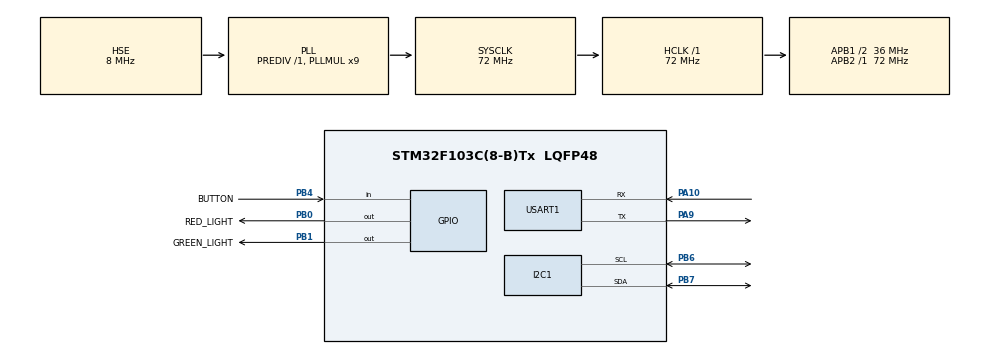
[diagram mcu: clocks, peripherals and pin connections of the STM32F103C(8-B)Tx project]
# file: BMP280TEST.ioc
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Mcu.Family=STM32F1
Mcu.Name=STM32F103C(8-B)Tx
Mcu.Package=LQFP48
NVIC.PriorityGroup=NVIC_PRIORITYGROUP_4
PA10.Mode=Asynchronous
PA10.Signal=USART1_RX
PA9.Mode=Asynchronous
PA9.Signal=USART1_TX
PB0.GPIO_Label=RED_LIGHT
PB0.Signal=GPIO_Output
PB1.GPIO_Label=GREEN_LIGHT
PB1.Signal=GPIO_Output
PB4.GPIO_Label=BUTTON
PB4.GPIO_PuPd=GPIO_PULLDOWN
PB4.Signal=GPIO_Input
PB6.Mode=I2C
PB6.Signal=I2C1_SCL
PB7.Mode=I2C
PB7.Signal=I2C1_SDA
PD0-OSC_IN.Mode=HSE-External-Oscillator
PD0-OSC_IN.Signal=RCC_OSC_IN
PD1-OSC_OUT.Mode=HSE-External-Oscillator
PD1-OSC_OUT.Signal=RCC_OSC_OUT
ProjectManager.HeapSize=0x200
ProjectManager.StackSize=0x400
ProjectManager.TargetToolchain=CMake
RCC.AHBFreq_Value=72000000
RCC.APB1CLKDivider=RCC_HCLK_DIV2
RCC.APB1Freq_Value=36000000
RCC.APB1TimFreq_Value=72000000
RCC.APB2Freq_Value=72000000
RCC.APB2TimFreq_Value=72000000
RCC.HCLKFreq_Value=72000000
RCC.PLLMUL=RCC_PLL_MUL9
RCC.PLLSourceVirtual=RCC_PLLSOURCE_HSE
RCC.SYSCLKFreq_VALUE=72000000
RCC.SYSCLKSource=RCC_SYSCLKSOURCE_PLLCLK
RCC.USBFreq_Value=72000000
USART1.VirtualMode=VM_ASYNC
VP_SYS_VS_ND.Mode=No_Debug
board=custom

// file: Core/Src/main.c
/* USER CODE BEGIN Header */
/**
 ******************************************************************************
 * @file           : main.c
 * @brief          : Main program body
 ******************************************************************************
 * @attention
 *
 * Copyright (c) 2024 STMicroelectronics.
 * All rights reserved.
 *
 * This software is licensed under terms that can be found in the LICENSE file
 * in the root directory of this software component.
 * If no LICENSE file comes with this software, it is provided AS-IS.
 *
 ******************************************************************************
 */
/* USER CODE END Header */
#include "main.h"

/* USER CODE BEGIN Includes */
#include "bmp280.h"
#include "liquidcrystal_i2c.h"
#include <stdio.h>
#include <string.h>
/* USER CODE END Includes */

I2C_HandleTypeDef hi2c1;

UART_HandleTypeDef huart1;

/* USER CODE BEGIN PV */
BMP280_HandleTypedef bmp280;

float pressure, temperature, humidity;

uint16_t size;
uint8_t Data[256];

// declares string to store the temperature and pressure before printing on LCD
char buffer[16];

/* USER CODE END PV */

void SystemClock_Config(void);
static void MX_GPIO_Init(void);
static void MX_I2C1_Init(void);
static void MX_USART1_UART_Init(void);

int main(void)
{

  /* MCU Configuration--------------------------------------------------------*/

  /* Reset of all peripherals, Initializes the Flash interface and the Systick. */
  HAL_Init();

  /* Configure the system clock */
  SystemClock_Config();

  /* Initialize all configured peripherals */
  MX_GPIO_Init();
  MX_I2C1_Init();
  MX_USART1_UART_Init();
  /* USER CODE BEGIN 2 */

  HD44780_Init(2);
  HD44780_Clear();
  HD44780_SetCursor(0, 0);
  HD44780_PrintStr("STM32 BLUE PILL");
  HD44780_SetCursor(0, 1);
  HD44780_PrintStr("BMP 280 DEMO");

  HAL_Delay(2000);

  bmp280_init_default_params(&bmp280.params);
  bmp280.addr = BMP280_I2C_ADDRESS_0;
  bmp280.i2c = &hi2c1;

  while (!bmp280_init(&bmp280, &bmp280.params))
  {
    size = sprintf((char *)Data, "BMP280 initialization failed\n");
    HAL_UART_Transmit(&huart1, Data, size, 1000);
    HAL_Delay(2000);
  }
  bool bme280p = bmp280.id == BME280_CHIP_ID;
  size = sprintf((char *)Data, "BMP280: found %s\n", bme280p ? "BME280" : "BMP280");
  HAL_UART_Transmit(&huart1, Data, size, 1000);

  HD44780_Clear();

  /* USER CODE END 2 */

  /* Infinite loop */
  /* USER CODE BEGIN WHILE */
  while (1)
  {
    bmp280_read_float(&bmp280, &temperature, &pressure);

    size = sprintf((char *)Data, "BMP280: Temperature: %f, Pressure: %f\n", temperature, pressure);
    HAL_UART_Transmit(&huart1, Data, size, 1000);

    HD44780_SetCursor(0, 0);
    sprintf(buffer, "Press: %.0f hPa", pressure / 100);
    HD44780_PrintStr(buffer);
    HD44780_SetCursor(0, 1);
    sprintf(buffer, "Temp: %.1f C", temperature);
    HD44780_PrintStr(buffer);

    HAL_Delay(1000);

    /* USER CODE END WHILE */

  }
}

void SystemClock_Config(void)
{
  RCC_OscInitTypeDef RCC_OscInitStruct = {0};
  RCC_ClkInitTypeDef RCC_ClkInitStruct = {0};

  /** Initializes the RCC Oscillators according to the specified parameters
   * in the RCC_OscInitTypeDef structure.
   */
  RCC_OscInitStruct.OscillatorType = RCC_OSCILLATORTYPE_HSE;
  RCC_OscInitStruct.HSEState = RCC_HSE_ON;
  RCC_OscInitStruct.HSEPredivValue = RCC_HSE_PREDIV_DIV1;
  RCC_OscInitStruct.HSIState = RCC_HSI_ON;
  RCC_OscInitStruct.PLL.PLLState = RCC_PLL_ON;
  RCC_OscInitStruct.PLL.PLLSource = RCC_PLLSOURCE_HSE;
  RCC_OscInitStruct.PLL.PLLMUL = RCC_PLL_MUL9;
  if (HAL_RCC_OscConfig(&RCC_OscInitStruct) != HAL_OK)
  {
    Error_Handler();
  }

  /** Initializes the CPU, AHB and APB buses clocks
   */
  RCC_ClkInitStruct.ClockType = RCC_CLOCKTYPE_HCLK | RCC_CLOCKTYPE_SYSCLK | RCC_CLOCKTYPE_PCLK1 | RCC_CLOCKTYPE_PCLK2;
  RCC_ClkInitStruct.SYSCLKSource = RCC_SYSCLKSOURCE_PLLCLK;
  RCC_ClkInitStruct.AHBCLKDivider = RCC_SYSCLK_DIV1;
  RCC_ClkInitStruct.APB1CLKDivider = RCC_HCLK_DIV2;
  RCC_ClkInitStruct.APB2CLKDivider = RCC_HCLK_DIV1;

  if (HAL_RCC_ClockConfig(&RCC_ClkInitStruct, FLASH_LATENCY_2) != HAL_OK)
  {
    Error_Handler();
  }
}

static void MX_I2C1_Init(void)
{

  hi2c1.Instance = I2C1;
  hi2c1.Init.ClockSpeed = 100000;
  hi2c1.Init.DutyCycle = I2C_DUTYCYCLE_2;
  hi2c1.Init.OwnAddress1 = 0;
  hi2c1.Init.AddressingMode = I2C_ADDRESSINGMODE_7BIT;
  hi2c1.Init.DualAddressMode = I2C_DUALADDRESS_DISABLE;
  hi2c1.Init.OwnAddress2 = 0;
  hi2c1.Init.GeneralCallMode = I2C_GENERALCALL_DISABLE;
  hi2c1.Init.NoStretchMode = I2C_NOSTRETCH_DISABLE;
  if (HAL_I2C_Init(&hi2c1) != HAL_OK)
  {
    Error_Handler();
  }
}

static void MX_USART1_UART_Init(void)
{

  huart1.Instance = USART1;
  huart1.Init.BaudRate = 115200;
  huart1.Init.WordLength = UART_WORDLENGTH_8B;
  huart1.Init.StopBits = UART_STOPBITS_1;
  huart1.Init.Parity = UART_PARITY_NONE;
  huart1.Init.Mode = UART_MODE_TX_RX;
  huart1.Init.HwFlowCtl = UART_HWCONTROL_NONE;
  huart1.Init.OverSampling = UART_OVERSAMPLING_16;
  if (HAL_UART_Init(&huart1) != HAL_OK)
  {
    Error_Handler();
  }
}

static void MX_GPIO_Init(void)
{
  GPIO_InitTypeDef GPIO_InitStruct = {0};

  /* GPIO Ports Clock Enable */
  __HAL_RCC_GPIOD_CLK_ENABLE();
  __HAL_RCC_GPIOB_CLK_ENABLE();
  __HAL_RCC_GPIOA_CLK_ENABLE();

  /*Configure GPIO pin Output Level */
  HAL_GPIO_WritePin(GPIOB, RED_LIGHT_Pin | GREEN_LIGHT_Pin, GPIO_PIN_RESET);

  /*Configure GPIO pins : RED_LIGHT_Pin GREEN_LIGHT_Pin */
  GPIO_InitStruct.Pin = RED_LIGHT_Pin | GREEN_LIGHT_Pin;
  GPIO_InitStruct.Mode = GPIO_MODE_OUTPUT_PP;
  GPIO_InitStruct.Pull = GPIO_NOPULL;
  GPIO_InitStruct.Speed = GPIO_SPEED_FREQ_LOW;
  HAL_GPIO_Init(GPIOB, &GPIO_InitStruct);

  /*Configure GPIO pin : BUTTON_Pin */
  GPIO_InitStruct.Pin = BUTTON_Pin;
  GPIO_InitStruct.Mode = GPIO_MODE_INPUT;
  GPIO_InitStruct.Pull = GPIO_PULLDOWN;
  HAL_GPIO_Init(BUTTON_GPIO_Port, &GPIO_InitStruct);

}

void Error_Handler(void)
{
  __disable_irq();
  while (1)
  {
  }
}
